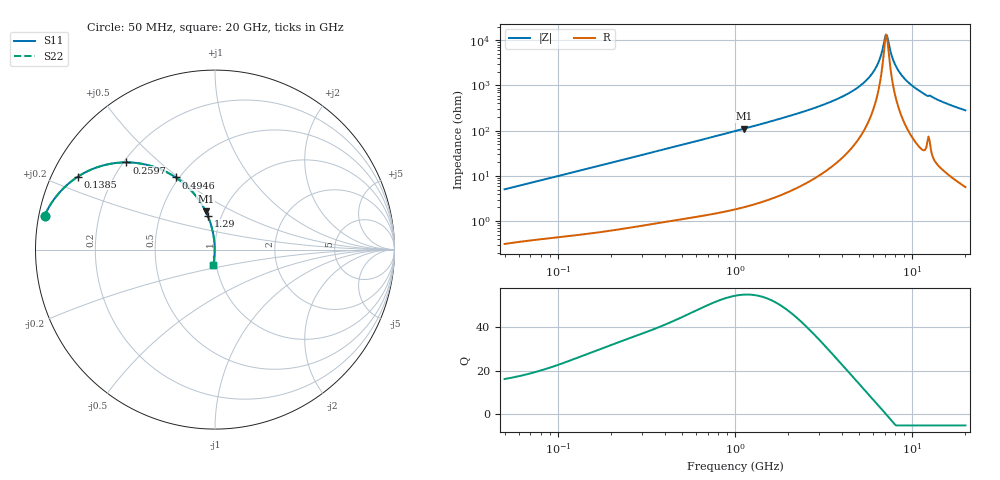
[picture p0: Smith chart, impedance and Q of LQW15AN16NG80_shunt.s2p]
!Murata Part Number: LQW15AN16NG80
!These Parameters are Measured in Shunt Mode Connection
!  o-----o
!  l
!Port1  [Z]  Port2
!  l
!  o-----o
!Freq. Start=50[MHz] Stop=20[GHz], 401[Steps]
# Hz S RI R 50
!Freq.(Hz) S11(Real) S11(Imag) S21(Real) S21(Imag) S12(Real) S12(Imag) S22(Real) S22(Imag)
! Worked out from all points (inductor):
!   401 points, 50 MHz to 20 GHz, reference 50 ohm
!   read as one part in shunt: L = 15.9 nH near 51.52 MHz
!   highest Q = 54.6 at 1.127 GHz (marker M1), where L = 15.7 nH
!   self-resonance near 7.115 GHz
!   S11 on the Smith chart (normalised r, x): 50 MHz: 0.02, +0.10; 138.5 MHz: 0.08, +0.25; 259.7 MHz: 0.21, +0.39; 494.6 MHz: 0.48, +0.49; 1.29 GHz: 0.86, +0.33; 20 GHz: 0.97, -0.17
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5e7  -0.9499 0.1894  0.0501 0.1894  0.0501 0.1894  -0.9499 0.1894
1.364002e8  -0.7679 0.4037  0.2321 0.4037  0.2321 0.4037  -0.7679 0.4037
1.384587e8  -0.7629 0.407  0.2371 0.407  0.2371 0.407  -0.7629 0.407
2.597386e8  -0.4936 0.4859  0.5064 0.4859  0.5064 0.4859  -0.4936 0.4859
3.721004e8  -0.3274 0.4569  0.6726 0.4569  0.6726 0.4569  -0.3274 0.4569
4.946044e8  -0.2186 0.4021  0.7814 0.4021  0.7814 0.4021  -0.2186 0.4021
1e9  -0.065 0.2375  0.935 0.2375  0.935 0.2375  -0.065 0.2375
1.127304e9  -0.0518 0.2127  0.9482 0.2127  0.9482 0.2127  -0.0518 0.2127
1.289994e9  -0.04 0.1869  0.96 0.1869  0.96 0.1869  -0.04 0.1869
2.728004e9  -0.00877 0.0808  0.9912 0.0808  0.9912 0.0808  -0.00877 0.0808
4.026975e9  -0.0039 0.044  0.9961 0.044  0.9961 0.044  -0.0039 0.044
5.194772e9  -0.00244 0.0236  0.9976 0.0236  0.9976 0.0236  -0.00244 0.0236
6.217679e9  -0.00195 0.0102  0.9981 0.0102  0.9981 0.0102  -0.00195 0.0102
6.503449e9  -0.00188 0.0069  0.9981 0.0069  0.9981 0.0069  -0.00188 0.0069
7.114996e9  -0.00182 0.000346  0.9982 0.000346  0.9982 0.000346  -0.00182 0.000346
7.222371e9  -0.00182 -0.000745  0.9982 -0.000745  0.9982 -0.000745  -0.00182 -0.000745
7.442007e9  -0.00183 -0.00293  0.9982 -0.00293  0.9982 -0.00293  -0.00183 -0.00293
7.784049e9  -0.00185 -0.00621  0.9981 -0.00621  0.9981 -0.00621  -0.00185 -0.00621
8.264682e9  -0.00193 -0.0106  0.9981 -0.0106  0.9981 -0.0106  -0.00193 -0.0106
9.745021e9  -0.00235 -0.023  0.9977 -0.023  0.9977 -0.023  -0.00235 -0.023
1.201863e10  -0.00451 -0.0408  0.9955 -0.0408  0.9955 -0.0408  -0.00451 -0.0408
2e10  -0.00952 -0.0876  0.9905 -0.0876  0.9905 -0.0876  -0.00952 -0.0876
